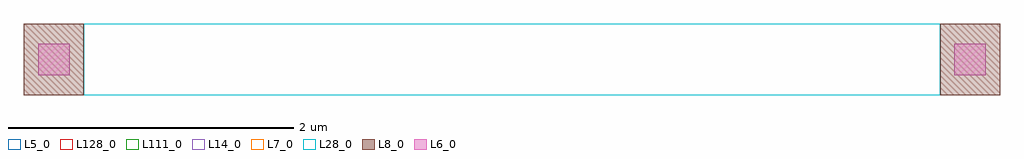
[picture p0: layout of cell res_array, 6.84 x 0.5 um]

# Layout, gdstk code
import gdstk
lib = gdstk.Library(unit=1e-6, precision=1e-09)
def R(c, l, rs):  # rectangles x0, y0, x1, y1
    for r in rs: c.add(gdstk.rectangle(r[:2], r[2:], *l))
L5_0 = (5, 0)
L6_0 = (6, 0)
L7_0 = (7, 0)
L8_0 = (8, 0)
L14_0 = (14, 0)
L28_0 = (28, 0)
L111_0 = (111, 0)
L128_0 = (128, 0)

res_array = lib.new_cell('res_array')
R(res_array, L5_0, [(0,0,6.84,0.5)])
R(res_array, L6_0, [(0.1,0.14,0.32,0.36), (6.52,0.14,6.74,0.36)])
R(res_array, L7_0, [(0.42,0,6.42,0.5)])
R(res_array, L8_0, [(0,0,0.42,0.5), (6.42,0,6.84,0.5)])
R(res_array, L14_0, [(0.42,0,6.42,0.5)])
R(res_array, L28_0, [(0.42,0,6.42,0.5)])
R(res_array, L111_0, [(0.42,0,6.42,0.5)])
R(res_array, L128_0, [(0.42,0,6.42,0.5)])

lib.write_gds('res_array.gds')
